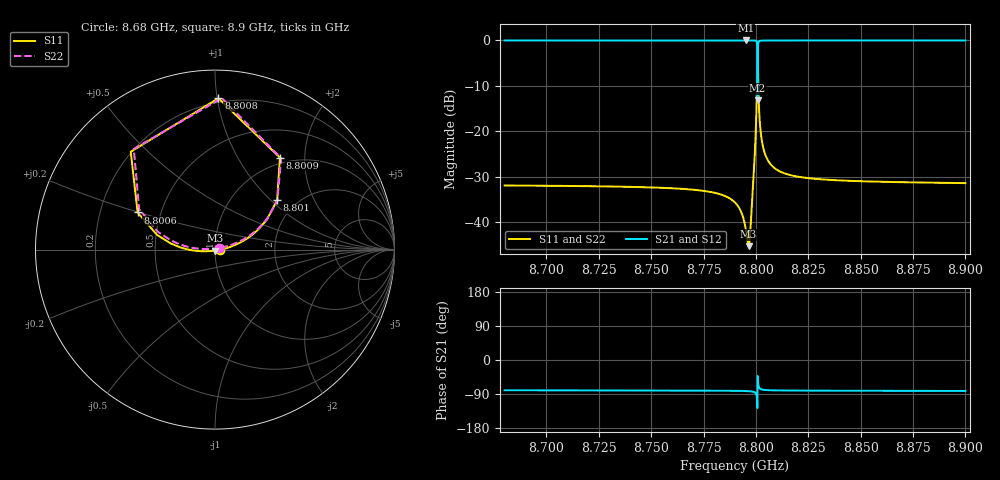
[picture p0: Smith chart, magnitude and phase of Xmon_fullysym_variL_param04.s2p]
! Sonnet Data File
! From: emgraph Version : 16.52
! From Project: 171117_Xmon_fullysym
! Data is De-embedded
! Data File Written: 11/26/2017 17:14:22
!< HDATE 11/22/2017 16:48:52
!< MDATE 11/23/2017 10:16:42
!< PARAMS
!< Lj = 11.0
!< Gap = 1.0
!< Pwid = 2000.0
!< Airgap = 6.0
!< Width = 10.0
!< Lj1 = 10.15
!< END PARAMS
# GHZ S MA R 50.90000
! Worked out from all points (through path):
!   2201 points, 8.68 GHz to 8.9 GHz, reference 50.9 ohm
!   highest |S21| = 0.00 dB at 8.7951 GHz (marker M1); lowest = -13.2 dB at 8.8008 GHz (marker M2)
!   lowest |S11| = -45.3 dB at 8.7965 GHz (marker M3), VSWR 1.01, Z = 51 - j0.543 ohm
!   |S11| at or under -10 dB: start of sweep to 8.8005 GHz; 8.8011 GHz to end of sweep
!   |S22| runs from -45.0 to -1.5 dB; largest |S21 - S12| = 1.4e-10
!   S11 on the Smith chart (normalised r, x): 8.68 GHz: 1.05, -0.00; 8.8006 GHz: 0.37, +0.20; 8.8008 GHz: 0.17, +1.01; 8.8009 GHz: 0.90, +1.53; 8.801 GHz: 1.60, +1.09; 8.9 GHz: 1.05, -0.00
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8.68  0.0252 -1.5  0.9997 -79.8  0.9997 -79.8  0.0252 21.9
!< P1 F=8.68 Eeff=(6.44843488 -2.9797e-5) Z0=(50.9086135 1.17022e-4) R=0.0 C=0.0
!< P2 F=8.68 Eeff=(6.44843488 -2.9797e-5) Z0=(50.9086135 1.17022e-4) R=0.0 C=0.0
8.7167  0.02483 -2.1  0.9997 -80.1  0.9997 -80.1  0.02483 21.8
8.7534  0.02385 -3.1  0.9997 -80.5  0.9997 -80.5  0.02385 22.0
8.7789  0.02125 -5.2  0.9998 -80.9  0.9998 -80.9  0.02126 23.4
8.79  0.01637 -10.2  0.9998 -81.3  0.9998 -81.3  0.01638 27.7
8.7931  0.01261 -16.6  0.9999 -81.6  0.9999 -81.6  0.01264 33.7
8.7951  0.0084 -31.6  0.9999 -81.9  0.9999 -81.9  0.008484 48.5
8.7965  0.005403 -79.9  0.9999 -82.3  0.9999 -82.3  0.005626 95.5
8.7972  0.00719 -123.7  0.9998 -82.5  0.9998 -82.5  0.007428 137.0
8.798  0.01449 -151.1  0.9996 -83.1  0.9996 -83.1  0.01469 163.1
8.7996  0.06629 -171.9  0.9964 -86.1  0.9964 -86.1  0.06653 177.2
8.8  0.1125 -176.9  0.9904 -88.8  0.9904 -88.8  0.1128 176.1
8.8006  0.4783 154.4  0.8282 -110.7  0.8282 -110.7  0.4793 151.9
8.8008  0.8433 88.7  0.2192 -42.2  0.2192 -42.2  0.8449 87.4
8.8009  0.6272 54.8  0.6924 -43.9  0.6924 -43.9  0.6284 54.1
8.801  0.442 38.4  0.8628 -56.1  0.8628 -56.1  0.4427 38.3
8.8019  0.121 13.5  0.9911 -75.4  0.9911 -75.4  0.1211 17.3
8.8032  0.07017 8.2  0.9972 -78.3  0.9972 -78.3  0.07022 15.8
8.8064  0.04499 3.9  0.9989 -79.8  0.9989 -79.8  0.04501 16.6
8.8267  0.03008 -0.8  0.9995 -80.9  0.9995 -80.9  0.03009 19.1
8.8634  0.02758 -2.3  0.9996 -81.3  0.9996 -81.3  0.02758 19.6
8.9  0.02676 -3.1  0.9996 -81.7  0.9996 -81.7  0.02676 19.7
